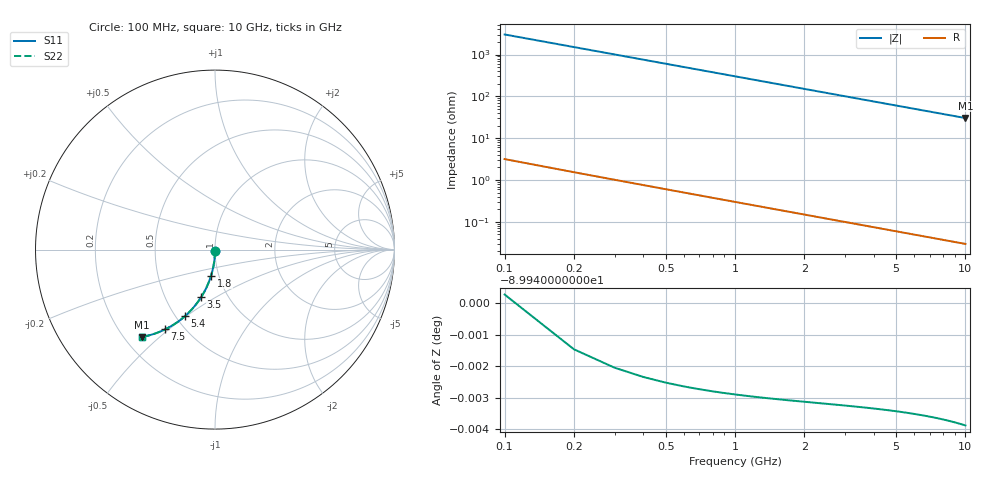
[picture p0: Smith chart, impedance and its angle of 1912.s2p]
# Hz S RI R 50.00
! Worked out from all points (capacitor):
!   100 points, 100 MHz to 10 GHz, reference 50 ohm
!   read as one part in shunt: C = 528 fF near 100 MHz
!   lowest |Z| = 30.3 ohm at 10 GHz (marker M1)
!   S11 on the Smith chart (normalised r, x): 100 MHz: 1.00, -0.02; 1.8 GHz: 0.92, -0.27; 3.5 GHz: 0.75, -0.43; 5.4 GHz: 0.56, -0.49; 7.5 GHz: 0.40, -0.49; 10 GHz: 0.27, -0.44
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1e8  -5.93e-05 -0.00826  0.9999 -0.00834  0.9999 -0.00834  -5.93e-05 -0.00826
2e8  -0.000274 -0.0165  0.9997 -0.0167  0.9997 -0.0167  -0.000274 -0.0165
3e8  -0.000626 -0.0248  0.9993 -0.025  0.9993 -0.025  -0.000626 -0.0248
4e8  -0.00111 -0.033  0.9988 -0.0333  0.9988 -0.0333  -0.00111 -0.033
5e8  -0.00174 -0.0412  0.9982 -0.0416  0.9982 -0.0416  -0.00174 -0.0412
6e8  -0.0025 -0.0494  0.9975 -0.0499  0.9975 -0.0499  -0.0025 -0.0494
8e8  -0.00443 -0.0657  0.9955 -0.0664  0.9955 -0.0664  -0.00443 -0.0657
1.1e9  -0.00833 -0.09  0.9916 -0.0909  0.9916 -0.0909  -0.00833 -0.09
1.4e9  -0.0134 -0.114  0.9866 -0.1151  0.9866 -0.1151  -0.0134 -0.114
1.8e9  -0.0219 -0.1453  0.978 -0.1467  0.978 -0.1467  -0.0219 -0.1453
2.1e9  -0.0296 -0.1681  0.9704 -0.1698  0.9704 -0.1698  -0.0296 -0.1681
2.5e9  -0.0414 -0.1977  0.9586 -0.1997  0.9586 -0.1997  -0.0414 -0.1977
2.9e9  -0.0548 -0.226  0.9451 -0.2284  0.9451 -0.2284  -0.0548 -0.226
3.4e9  -0.0738 -0.2596  0.9262 -0.2623  0.9262 -0.2623  -0.0738 -0.2596
3.5e9  -0.0778 -0.266  0.9221 -0.2689  0.9221 -0.2689  -0.0778 -0.266
4.3e9  -0.1129 -0.3142  0.8871 -0.3177  0.8871 -0.3177  -0.1129 -0.3142
5.1e9  -0.1517 -0.3561  0.8483 -0.3603  0.8483 -0.3603  -0.1517 -0.3561
5.4e9  -0.1669 -0.3702  0.8331 -0.3746  0.8331 -0.3746  -0.1669 -0.3702
6.7e9  -0.2354 -0.421  0.7645 -0.4265  0.7645 -0.4265  -0.2354 -0.421
7.5e9  -0.2782 -0.4445  0.7217 -0.4507  0.7217 -0.4507  -0.2782 -0.4445
8.4e9  -0.3257 -0.4647  0.6742 -0.4716  0.6742 -0.4716  -0.3257 -0.4647
1e10  -0.406 -0.4864  0.5939 -0.4948  0.5939 -0.4948  -0.406 -0.4864
